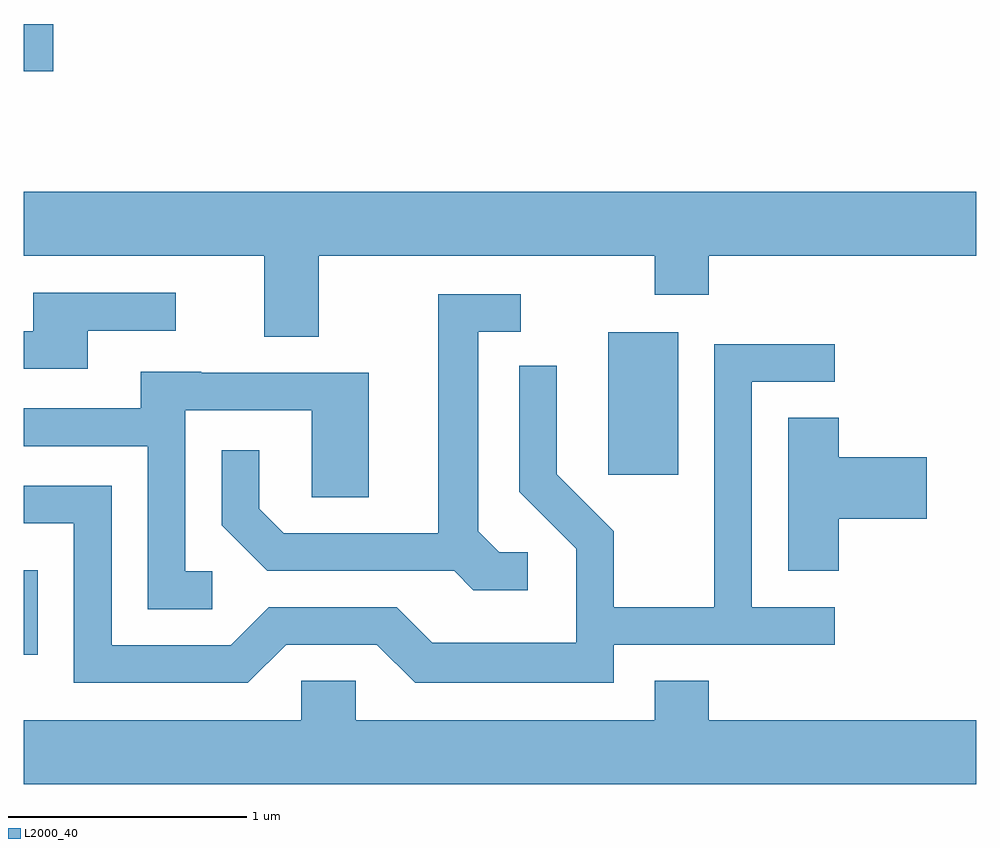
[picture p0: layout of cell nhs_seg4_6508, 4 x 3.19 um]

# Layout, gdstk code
import gdstk
lib = gdstk.Library(unit=1e-6, precision=1e-09)
def R(c, l, rs):  # rectangles x0, y0, x1, y1
    for r in rs: c.add(gdstk.rectangle(r[:2], r[2:], *l))
def P(c, l, *ps):  # polygons
    for p in ps: c.add(gdstk.Polygon(p, *l))
L2000_40 = (2000, 40)

nhs_seg4_6508 = lib.new_cell('nhs_seg4_6508')
R(nhs_seg4_6508, L2000_40, [(375.611,1350.778,375.669,1351.134), (378.066,1351.536,378.359,1352.134), (375.611,1353.231,375.734,1353.429)])
P(nhs_seg4_6508, L2000_40, [(376.849,1352.456),(378.261,1352.456),(378.261,1352.291),(378.489,1352.291),(378.489,1352.456),(379.611,1352.456),(379.611,1352.724),(375.611,1352.724),(375.611,1352.456),(376.621,1352.456),(376.621,1352.116),(376.849,1352.116)],
  [(375.879,1352.141),(376.248,1352.141),(376.248,1352.299),(375.651,1352.299),(375.651,1352.139),(375.611,1352.139),(375.611,1351.981),(375.879,1351.981)],
  [(377.728,1351.209),(377.607,1351.209),(377.519,1351.297),(377.519,1352.136),(377.698,1352.136),(377.698,1352.294),(377.351,1352.294),(377.351,1351.289),(376.702,1351.289),(376.599,1351.392),(376.599,1351.638),(376.441,1351.638),(376.441,1351.324),(376.634,1351.131),(377.419,1351.131),(377.499,1351.051),(377.728,1351.051)],
  [(376.712,1350.821),(377.094,1350.821),(377.254,1350.661),(378.089,1350.661),(378.089,1350.821),(379.018,1350.821),(379.018,1350.979),(378.669,1350.979),(378.669,1351.926),(379.018,1351.926),(379.018,1352.084),(378.511,1352.084),(378.511,1350.979),(378.089,1350.979),(378.089,1351.297),(377.849,1351.537),(377.849,1351.993),(377.691,1351.993),(377.691,1351.464),(377.931,1351.224),(377.931,1350.829),(377.327,1350.829),(377.177,1350.979),(376.639,1350.979),(376.479,1350.819),(375.979,1350.819),(375.979,1351.489),(375.611,1351.489),(375.611,1351.331),(375.821,1351.331),(375.821,1350.661),(376.552,1350.661)],
  [(376.403,1351.129),(376.289,1351.129),(376.289,1351.806),(376.821,1351.806),(376.821,1351.441),(377.059,1351.441),(377.059,1351.964),(376.355,1351.964),(376.355,1351.969),(376.101,1351.969),(376.101,1351.814),(375.611,1351.814),(375.611,1351.656),(376.131,1351.656),(376.131,1350.971),(376.403,1350.971)],
  [(379.034,1351.351),(379.404,1351.351),(379.404,1351.609),(379.034,1351.609),(379.034,1351.774),(378.821,1351.774),(378.821,1351.131),(379.034,1351.131)],
  [(376.776,1350.669),(376.776,1350.504),(375.611,1350.504),(375.611,1350.236),(379.611,1350.236),(379.611,1350.504),(378.489,1350.504),(378.489,1350.669),(378.261,1350.669),(378.261,1350.504),(377.004,1350.504),(377.004,1350.669)])

lib.write_gds('nhs_seg4_6508.gds')
